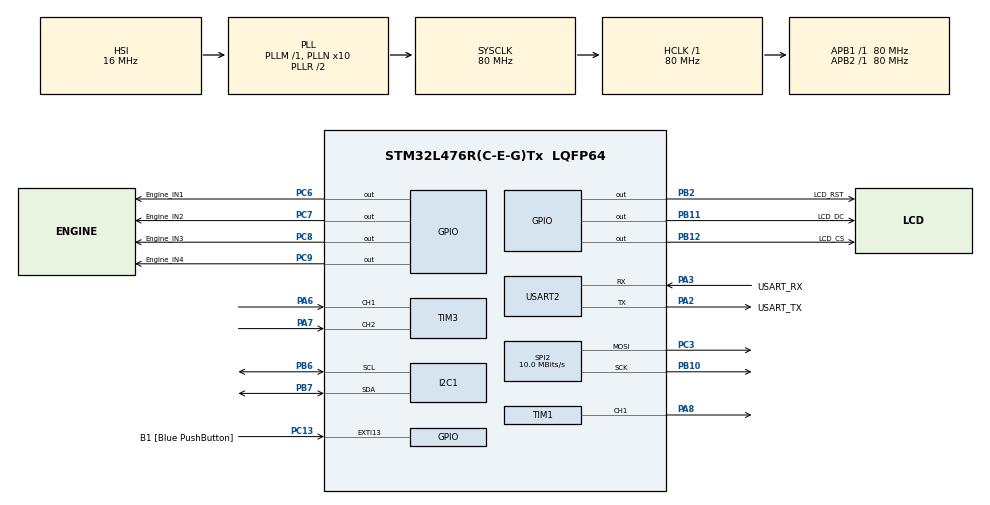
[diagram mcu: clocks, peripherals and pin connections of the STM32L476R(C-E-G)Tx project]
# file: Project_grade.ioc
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Dma.Request0=SPI2_TX
Dma.SPI2_TX.0.Direction=DMA_MEMORY_TO_PERIPH
Dma.SPI2_TX.0.Instance=DMA1_Channel5
Dma.SPI2_TX.0.MemDataAlignment=DMA_MDATAALIGN_BYTE
Dma.SPI2_TX.0.MemInc=DMA_MINC_ENABLE
Dma.SPI2_TX.0.Mode=DMA_NORMAL
Dma.SPI2_TX.0.PeriphDataAlignment=DMA_PDATAALIGN_BYTE
Dma.SPI2_TX.0.PeriphInc=DMA_PINC_DISABLE
Dma.SPI2_TX.0.Priority=DMA_PRIORITY_LOW
I2C1.I2C_Fall_Time=0
I2C1.I2C_Rise_Time=0
I2C1.Timing=0x10909CEC
Mcu.Family=STM32L4
Mcu.Name=STM32L476R(C-E-G)Tx
Mcu.Package=LQFP64
NVIC.DMA1_Channel5_IRQn=true\:0\:0\:false\:false\:true\:false\:true\:true
NVIC.I2C1_EV_IRQn=true\:0\:0\:false\:false\:true\:true\:true\:true
NVIC.PriorityGroup=NVIC_PRIORITYGROUP_4
NVIC.TIM6_DAC_IRQn=true\:0\:0\:false\:false\:true\:true\:true\:true
NVIC.TIM7_IRQn=true\:0\:0\:false\:false\:true\:true\:true\:true
PA13\ (JTMS-SWDIO).GPIO_Label=TMS
PA13\ (JTMS-SWDIO).Mode=Serial_Wire
PA13\ (JTMS-SWDIO).Signal=SYS_JTMS-SWDIO
PA14\ (JTCK-SWCLK).GPIO_Label=TCK
PA14\ (JTCK-SWCLK).Mode=Serial_Wire
PA14\ (JTCK-SWCLK).Signal=SYS_JTCK-SWCLK
PA2.GPIO_Label=USART_TX
PA2.GPIO_Mode=GPIO_MODE_AF_PP
PA2.GPIO_PuPd=GPIO_NOPULL
PA2.GPIO_Speed=GPIO_SPEED_FREQ_VERY_HIGH
PA2.Mode=Asynchronous
PA2.Signal=USART2_TX
PA3.GPIO_Label=USART_RX
PA3.GPIO_Mode=GPIO_MODE_AF_PP
PA3.GPIO_PuPd=GPIO_NOPULL
PA3.GPIO_Speed=GPIO_SPEED_FREQ_VERY_HIGH
PA3.Mode=Asynchronous
PA3.Signal=USART2_RX
PA6.Signal=S_TIM3_CH1
PA7.Signal=S_TIM3_CH2
PA8.Signal=S_TIM1_CH1
PB10.Mode=TX_Only_Simplex_Unidirect_Master
PB10.Signal=SPI2_SCK
PB11.GPIO_Label=LCD_DC
PB11.Signal=GPIO_Output
PB12.GPIO_Label=LCD_CS
PB12.PinState=GPIO_PIN_SET
PB12.Signal=GPIO_Output
PB2.GPIO_Label=LCD_RST
PB2.Signal=GPIO_Output
PB3\ (JTDO-TRACESWO).GPIO_Label=SWO
PB3\ (JTDO-TRACESWO).Signal=SYS_JTDO-SWO
PB6.Mode=I2C
PB6.Signal=I2C1_SCL
PB7.Mode=I2C
PB7.Signal=I2C1_SDA
PC13.GPIO_Label=B1 [Blue PushButton]
PC13.GPIO_ModeDefaultEXTI=GPIO_MODE_IT_FALLING
PC13.GPIO_PuPd=GPIO_NOPULL
PC13.Signal=GPXTI13
PC14-OSC32_IN\ (PC14).Mode=LSE-External-Oscillator
PC14-OSC32_IN\ (PC14).Signal=RCC_OSC32_IN
PC15-OSC32_OUT\ (PC15).Mode=LSE-External-Oscillator
PC15-OSC32_OUT\ (PC15).Signal=RCC_OSC32_OUT
PC3.Mode=TX_Only_Simplex_Unidirect_Master
PC3.Signal=SPI2_MOSI
PC6.GPIO_Label=Engine_IN1
PC6.Signal=GPIO_Output
PC7.GPIO_Label=Engine_IN2
PC7.Signal=GPIO_Output
PC8.GPIO_Label=Engine_IN3
PC8.Signal=GPIO_Output
PC9.GPIO_Label=Engine_IN4
PC9.Signal=GPIO_Output
PH0-OSC_IN\ (PH0).Signal=RCC_OSC_IN
PH1-OSC_OUT\ (PH1).Signal=RCC_OSC_OUT
ProjectManager.HeapSize=0x200
ProjectManager.StackSize=0x400
ProjectManager.TargetToolchain=STM32CubeIDE
RCC.ADCFreq_Value=64000000
RCC.AHBFreq_Value=80000000
RCC.APB1Freq_Value=80000000
RCC.APB1TimFreq_Value=80000000
RCC.APB2Freq_Value=80000000
RCC.APB2TimFreq_Value=80000000
RCC.CortexFreq_Value=80000000
RCC.HCLKFreq_Value=80000000
RCC.HSE_VALUE=8000000
RCC.HSI_VALUE=16000000
RCC.MSI_VALUE=4000000
RCC.PLLN=10
RCC.PLLSourceVirtual=RCC_PLLSOURCE_HSI
RCC.PREFETCH_ENABLE=1
RCC.SYSCLKFreq_VALUE=80000000
RCC.SYSCLKSource=RCC_SYSCLKSOURCE_PLLCLK
RCC.USBFreq_Value=64000000
RCC.VCOOutputFreq_Value=160000000
SH.S_TIM1_CH1.0=TIM1_CH1,PWM Generation1 CH1
SH.S_TIM3_CH1.0=TIM3_CH1,Encoder_Interface
SH.S_TIM3_CH2.0=TIM3_CH2,Encoder_Interface
SPI2.BaudRatePrescaler=SPI_BAUDRATEPRESCALER_8
SPI2.CalculateBaudRate=10.0 MBits/s
SPI2.DataSize=SPI_DATASIZE_8BIT
SPI2.Direction=SPI_DIRECTION_2LINES
SPI2.Mode=SPI_MODE_MASTER
SPI2.VirtualType=VM_MASTER
TIM1.Channel-PWM\ Generation1\ CH1=TIM_CHANNEL_1
TIM1.Period=9999
TIM1.Prescaler=79
TIM15.Period=0xffff-1
TIM15.Prescaler=80-1
TIM6.Period=19999
TIM6.Prescaler=7999
TIM7.Period=10000-1
TIM7.Prescaler=799
USART2.VirtualMode-Asynchronous=VM_ASYNC
VP_TIM15_VS_ClockSourceINT.Mode=Internal
VP_TIM6_VS_ClockSourceINT.Mode=Enable_Timer
VP_TIM7_VS_ClockSourceINT.Mode=Enable_Timer
board=NUCLEO-L476RG

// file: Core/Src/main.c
/* USER CODE BEGIN Header */
/**
  ******************************************************************************
  * @file           : main.c
  * @brief          : Main program body
  ******************************************************************************
  * @attention
  *
  * Copyright (c) 2025 STMicroelectronics.
  * All rights reserved.
  *
  * This software is licensed under terms that can be found in the LICENSE file
  * in the root directory of this software component.
  * If no LICENSE file comes with this software, it is provided AS-IS.
  *
  ******************************************************************************
  */
/* USER CODE END Header */
#include "main.h"
#include "dma.h"
#include "i2c.h"
#include "spi.h"
#include "tim.h"
#include "usart.h"
#include "gpio.h"

/* USER CODE BEGIN Includes */
#include <wchar.h>
#include <stdio.h>
#include <wchar.h>
#include "stepper_motor.h"
#include "hagl.h"
#include "font6x9.h"
#include "rgb565.h"
#include "bh1750_config.h"
/* USER CODE END Includes */

volatile _Bool USER_Button_state = 0;
GPIO_PinState LD1_State = GPIO_PIN_RESET;
/* USER CODE BEGIN PV */
int light =0;
int value = 0;
int mode = 0;
int pulse = 0;
uint8_t ster = 0;      // Control variable (1 = diode, 0 = stepper motor)
uint8_t engineR = 0;   // Stepper motor control (1 = closing, 0 = opening)
float currentAngle = 0;  // Stepper motor current position
int maxAngle = 875;    // Max rotation angle
int minAngle = 20;     // Min rotation angle
// PID constants (tune these values)
float Kp = 4.65;
float Ki = 3;
float Kd = 0.5;

// PID variables
float error = 0;
float previous_error = 0;
float integral = 0;
float derivative = 0;
float output = 0;
float dt = 1;  // Sampling time in seconds
/* USER CODE END PV */

void SystemClock_Config(void);

/* USER CODE BEGIN 0 */
void HAL_SPI_TxCpltCallback(SPI_HandleTypeDef *hspi)
{
	if (hspi == &hspi2)
	{
		lcd_transfer_done();
	}
}
void HAL_TIM_PeriodElapsedCallback(TIM_HandleTypeDef *htim)
{
	if(htim==&htim7){

						light = BH1750_ReadIlluminance_lux(&hbh1750A);
					}
	if(htim==&htim6){

				hagl_fill_rectangle(30, 45, 80, 100, BLACK);
				value =10* __HAL_TIM_GET_COUNTER(&htim3);
				wchar_t str[10];
				swprintf(str, sizeof(str) / sizeof(wchar_t), L"%d", value);
				hagl_put_text(str, 40, 55, YELLOW, font6x9);
				//light = BH1750_ReadIlluminance_lux(&hbh1750A);
				wchar_t lig[10];
				swprintf(lig, sizeof(lig) / sizeof(wchar_t), L"%d", light);
				hagl_put_text(lig, 40, 85, RED, font6x9);
				while (lcd_is_busy()) {}
				lcd_copy();
				printf("Measurement: %d, Set value: %d\n\n", light, value);

	}

}

// Define constants for readability
#define PWM_MAX 10000
#define PWM_MIN 0
#define INTEGRAL_MAX 10000
#define INTEGRAL_MIN -10000
#define LIGHT_RANGE_FACTOR 0.5
#define STEPPER_STEP_SIZE 10

void updatePID() {
    // Calculate error
    error = value - light;

    // Update integral with anti-windup
    integral += error * dt;
    if (integral > INTEGRAL_MAX) integral = INTEGRAL_MAX;
    if (integral < INTEGRAL_MIN) integral = INTEGRAL_MIN;

    // Calculate derivative
    derivative = (error - previous_error) / dt;

    // Compute PID output
    output = (Kp * error) + (Ki * integral) + (Kd * derivative);

    // Clamp output to valid PWM range
    if (output > PWM_MAX) output = PWM_MAX;
    if (output < PWM_MIN) output = PWM_MIN;

    // Store error for next iteration
    previous_error = error;
}

void control_logic() {
    // Determine control mode (diode or stepper motor)
//    if (currentAngle >=maxAngle || light<value) {
//        ster = 1;  // Control diode
//    } else {
//        ster = 0;  // Control stepper motor
//    }
//
//    if (ster == 1) {
        // Run PID control for the diode
        updatePID();
        TIM1->CCR1 = (uint32_t)output;  // Set PWM output
  // } else {
        // Control stepper motor based on light
        if (light >= value) {
            engineR = 1;  // Close
        } else {
            engineR = 0;  // Open
        }

        // Stepper motor movement with angle constraints
        if (engineR == 1 && currentAngle <= maxAngle) {
            stepper_step_angle(STEPPER_STEP_SIZE, 0, 12);
            currentAngle += STEPPER_STEP_SIZE;
        } else if (engineR == 0 && currentAngle >= minAngle) {
            stepper_step_angle(STEPPER_STEP_SIZE, 1, 12);
            currentAngle -= STEPPER_STEP_SIZE;
        }
    }

/* USER CODE END 0 */

int main(void)
{

  /* MCU Configuration--------------------------------------------------------*/

  /* Reset of all peripherals, Initializes the Flash interface and the Systick. */
  HAL_Init();

  /* Configure the system clock */
  SystemClock_Config();

  /* Initialize all configured peripherals */
  MX_GPIO_Init();
  MX_DMA_Init();
  MX_USART2_UART_Init();
  MX_SPI2_Init();
  MX_TIM3_Init();
  MX_I2C1_Init();
  MX_TIM6_Init();
  MX_TIM1_Init();
  MX_TIM15_Init();
  MX_TIM7_Init();
  /* USER CODE BEGIN 2 */
  lcd_init();
    HAL_TIM_Encoder_Start(&htim3, TIM_CHANNEL_ALL);
    HAL_TIM_Base_Start_IT(&htim6);
    HAL_TIM_Base_Start_IT(&htim7);
    HAL_TIM_Base_Start(&htim15);
    HAL_TIM_PWM_Start(&htim1, TIM_CHANNEL_1);
    BH1750_Init(&hbh1750A);
    for (int i = 0; i < 8; i++) {
      hagl_draw_rounded_rectangle(2+i, 2+i, 158-i, 126-i, 8-i, rgb565(0, 0, i*16));
    }
    lcd_copy();
  /* USER CODE END 2 */

  /* Infinite loop */
  /* USER CODE BEGIN WHILE */

  while (1)
  {

	 // control_logic();
	  //        HAL_Delay(1000);  // Run control loop periodically

	  HAL_Delay(10);
	    	if (mode==1){
	    		pulse = (pulse + 5 > 10000) ? 10000 : pulse + 1; // increase by 1
	    	} else {
	    		pulse -= 10; // Decrease pulse by 5
	    		        if (pulse < 0) {
	    		            pulse = 0; // Clamp pulse to 0
	    		        }
	    	}
	    	if (light >= value) {
	    		mode = 0;
	    	}
	    	if (light < value) {
	    		mode = 1;
	    	}
	    	TIM1->CCR1 = pulse;

	    	if (light >= value) {
	    	            engineR = 1;  // Close
	    	        } else if(light < 0.8*value){
	    	            engineR = 0;  // Open
	    	        }

	    	        // Stepper motor movement with angle constraints
	    	        if (engineR == 1 && currentAngle <= maxAngle) {
	    	            stepper_step_angle(STEPPER_STEP_SIZE, 0, 6);
	    	            currentAngle += STEPPER_STEP_SIZE;
	    	        } else if (engineR == 0 && currentAngle >= minAngle) {
	    	            stepper_step_angle(STEPPER_STEP_SIZE, 1, 6);
	    	            currentAngle -= STEPPER_STEP_SIZE;
	    	        }

}
    /* USER CODE END WHILE */

}

void SystemClock_Config(void)
{
  RCC_OscInitTypeDef RCC_OscInitStruct = {0};
  RCC_ClkInitTypeDef RCC_ClkInitStruct = {0};

  /** Configure the main internal regulator output voltage
  */
  if (HAL_PWREx_ControlVoltageScaling(PWR_REGULATOR_VOLTAGE_SCALE1) != HAL_OK)
  {
    Error_Handler();
  }

  /** Initializes the RCC Oscillators according to the specified parameters
  * in the RCC_OscInitTypeDef structure.
  */
  RCC_OscInitStruct.OscillatorType = RCC_OSCILLATORTYPE_HSI;
  RCC_OscInitStruct.HSIState = RCC_HSI_ON;
  RCC_OscInitStruct.HSICalibrationValue = RCC_HSICALIBRATION_DEFAULT;
  RCC_OscInitStruct.PLL.PLLState = RCC_PLL_ON;
  RCC_OscInitStruct.PLL.PLLSource = RCC_PLLSOURCE_HSI;
  RCC_OscInitStruct.PLL.PLLM = 1;
  RCC_OscInitStruct.PLL.PLLN = 10;
  RCC_OscInitStruct.PLL.PLLP = RCC_PLLP_DIV7;
  RCC_OscInitStruct.PLL.PLLQ = RCC_PLLQ_DIV2;
  RCC_OscInitStruct.PLL.PLLR = RCC_PLLR_DIV2;
  if (HAL_RCC_OscConfig(&RCC_OscInitStruct) != HAL_OK)
  {
    Error_Handler();
  }

  /** Initializes the CPU, AHB and APB buses clocks
  */
  RCC_ClkInitStruct.ClockType = RCC_CLOCKTYPE_HCLK|RCC_CLOCKTYPE_SYSCLK
                              |RCC_CLOCKTYPE_PCLK1|RCC_CLOCKTYPE_PCLK2;
  RCC_ClkInitStruct.SYSCLKSource = RCC_SYSCLKSOURCE_PLLCLK;
  RCC_ClkInitStruct.AHBCLKDivider = RCC_SYSCLK_DIV1;
  RCC_ClkInitStruct.APB1CLKDivider = RCC_HCLK_DIV1;
  RCC_ClkInitStruct.APB2CLKDivider = RCC_HCLK_DIV1;

  if (HAL_RCC_ClockConfig(&RCC_ClkInitStruct, FLASH_LATENCY_4) != HAL_OK)
  {
    Error_Handler();
  }
}

void Error_Handler(void)
{
  __disable_irq();
  while (1)
  {
  }
}
